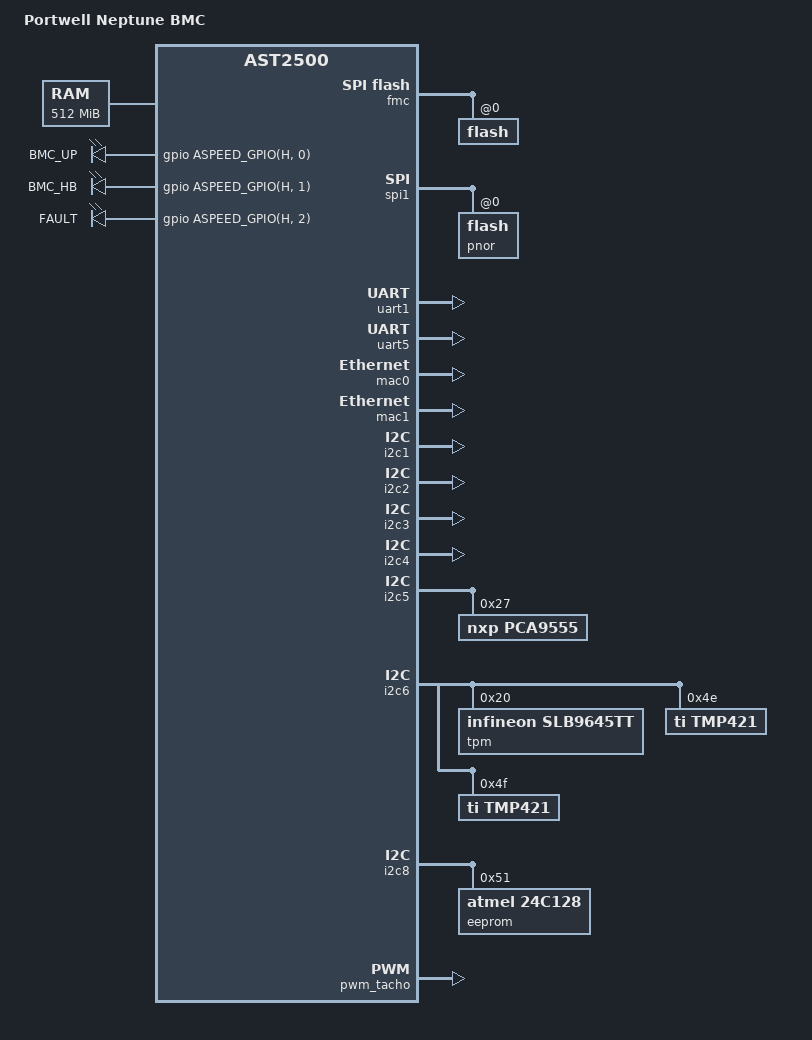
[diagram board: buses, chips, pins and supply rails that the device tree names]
// SPDX-License-Identifier: GPL-2.0
// Copyright (c) 2017 Facebook Inc.
/dts-v1/;

#include "aspeed-g5.dtsi"
#include <dt-bindings/gpio/aspeed-gpio.h>

/ {
	model = "Portwell Neptune BMC";
	compatible = "portwell,neptune-bmc", "aspeed,ast2500";
	aliases {
		serial0 = &uart1;
		serial4 = &uart5;
	};
	chosen {
		stdout-path = &uart5;
		bootargs = "console=ttyS4,115200 earlyprintk";
	};

	memory@80000000 {
		reg = <0x80000000 0x20000000>;
	};

	leds {
		compatible = "gpio-leds";
		postcode0 {
			label="BMC_UP";
			gpios = <&gpio ASPEED_GPIO(H, 0) GPIO_ACTIVE_HIGH>;
			default-state = "on";
		};
		postcode1 {
			label="BMC_HB";
			gpios = <&gpio ASPEED_GPIO(H, 1) GPIO_ACTIVE_HIGH>;
			linux,default-trigger = "heartbeat";
		};
		postcode2 {
			label="FAULT";
			gpios = <&gpio ASPEED_GPIO(H, 2) GPIO_ACTIVE_HIGH>;
		};
		// postcode3-7 are GPIOH3-H7
	};
};

&fmc {
	status = "okay";
	flash@0 {
		status = "okay";
		m25p,fast-read;
#include "openbmc-flash-layout.dtsi"
	};
};

&spi1 {
	status = "okay";
	pinctrl-names = "default";
	pinctrl-0 = <&pinctrl_spi1_default>;
	flash@0 {
		status = "okay";
		m25p,fast-read;
		label = "pnor";
	};
};

&uart1 {
	// Host Console
	status = "okay";
	pinctrl-names = "default";
	pinctrl-0 = <&pinctrl_txd1_default
		     &pinctrl_rxd1_default>;
};

&uart5 {
	// BMC Console
	status = "okay";
};

&mac0 {
	status = "okay";

	pinctrl-names = "default";
	pinctrl-0 = <&pinctrl_rmii1_default
		     &pinctrl_mdio1_default>;
	clocks = <&syscon ASPEED_CLK_GATE_MAC1CLK>,
		 <&syscon ASPEED_CLK_MAC1RCLK>;
	clock-names = "MACCLK", "RCLK";
};

&mac1 {
	status = "okay";
	pinctrl-names = "default";
	pinctrl-0 = <&pinctrl_rmii2_default>;
	clocks = <&syscon ASPEED_CLK_GATE_MAC2CLK>,
		 <&syscon ASPEED_CLK_MAC2RCLK>;
	clock-names = "MACCLK", "RCLK";
	use-ncsi;
};

&i2c1 {
	status = "okay";
	// To PCIe slot SMBUS
};

&i2c2 {
	status = "okay";
	// To LAN I210
};

&i2c3 {
	status = "okay";
	// SMBus to COMe AB
};

&i2c4 {
	status = "okay";
	// I2C to COMe AB
};

&i2c5 {
	status = "okay";
// 	USB Debug card
	pca9555@27 {
		compatible = "nxp,pca9555";
		reg = <0x27>;
		gpio-controller;
		#gpio-cells = <2>;
	};
};

&i2c6 {
	status = "okay";
	tpm@20 {
		compatible = "infineon,slb9645tt";
		reg = <0x20>;
	};
	tmp421@4e {
		compatible = "ti,tmp421";
		reg = <0x4e>;
	};
	tmp421@4f {
		compatible = "ti,tmp421";
		reg = <0x4f>;
	};
};

&i2c8 {
	status = "okay";
	eeprom@51 {
		compatible = "atmel,24c128";
		reg = <0x51>;
		pagesize = <32>;
	};
};

&pwm_tacho {
	status = "okay";
	pinctrl-names = "default";
	pinctrl-0 = <&pinctrl_pwm0_default &pinctrl_pwm1_default>;
	fan@0 {
		reg = <0x00>;
		aspeed,fan-tach-ch = /bits/ 8 <0x00>;
	};

	fan@1 {
		reg = <0x00>;
		aspeed,fan-tach-ch = /bits/ 8 <0x01>;
	};
};
